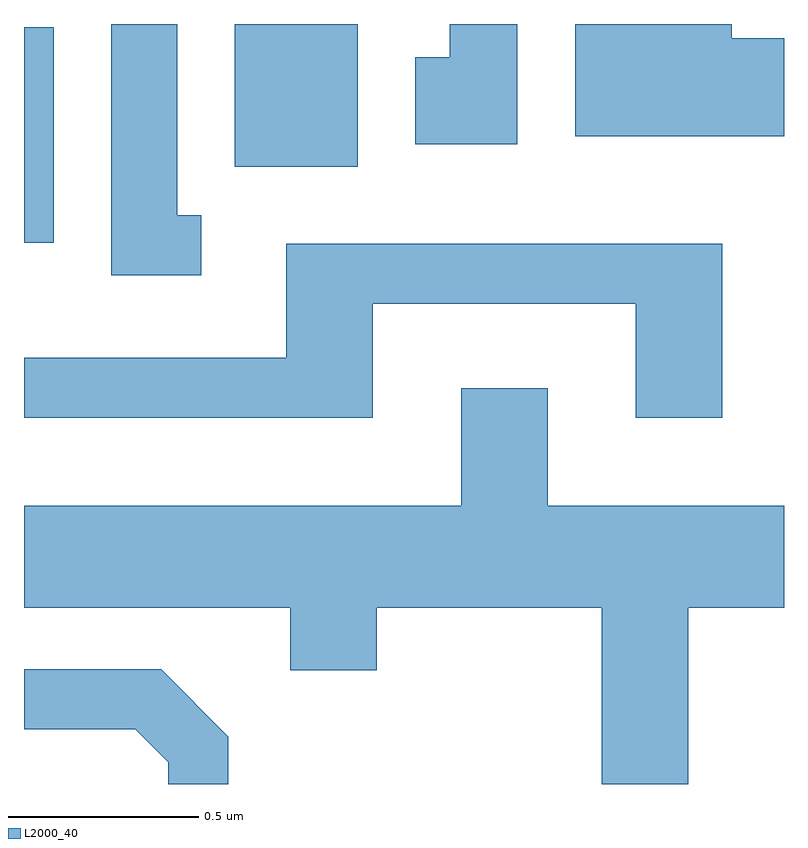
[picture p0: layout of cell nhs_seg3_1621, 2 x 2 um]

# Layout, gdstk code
import gdstk
lib = gdstk.Library(unit=1e-6, precision=1e-09)
def R(c, l, rs):  # rectangles x0, y0, x1, y1
    for r in rs: c.add(gdstk.rectangle(r[:2], r[2:], *l))
def P(c, l, *ps):  # polygons
    for p in ps: c.add(gdstk.Polygon(p, *l))
L2000_40 = (2000, 40)

nhs_seg3_1621 = lib.new_cell('nhs_seg3_1621')
R(nhs_seg3_1621, L2000_40, [(196.611,1231.316,196.689,1231.884), (197.166,1231.516,197.489,1231.892)])
P(nhs_seg3_1621, L2000_40, [(198.611,1231.854),(198.474,1231.854),(198.474,1231.892),(198.061,1231.892),(198.061,1231.596),(198.611,1231.596)],
  [(197.078,1231.389),(197.014,1231.389),(197.014,1231.892),(196.841,1231.892),(196.841,1231.231),(197.078,1231.231)],
  [(197.909,1231.892),(197.731,1231.892),(197.731,1231.804),(197.641,1231.804),(197.641,1231.576),(197.909,1231.576)],
  [(197.529,1231.156),(198.221,1231.156),(198.221,1230.856),(198.449,1230.856),(198.449,1231.314),(197.301,1231.314),(197.301,1231.014),(196.611,1231.014),(196.611,1230.856),(197.529,1230.856)],
  [(198.359,1230.356),(198.611,1230.356),(198.611,1230.624),(197.989,1230.624),(197.989,1230.934),(197.761,1230.934),(197.761,1230.624),(196.611,1230.624),(196.611,1230.356),(197.311,1230.356),(197.311,1230.191),(197.539,1230.191),(197.539,1230.356),(198.131,1230.356),(198.131,1229.892),(198.359,1229.892)],
  [(197.149,1230.017),(196.972,1230.194),(196.611,1230.194),(196.611,1230.036),(196.904,1230.036),(196.991,1229.949),(196.991,1229.892),(197.149,1229.892)])

lib.write_gds('nhs_seg3_1621.gds')
